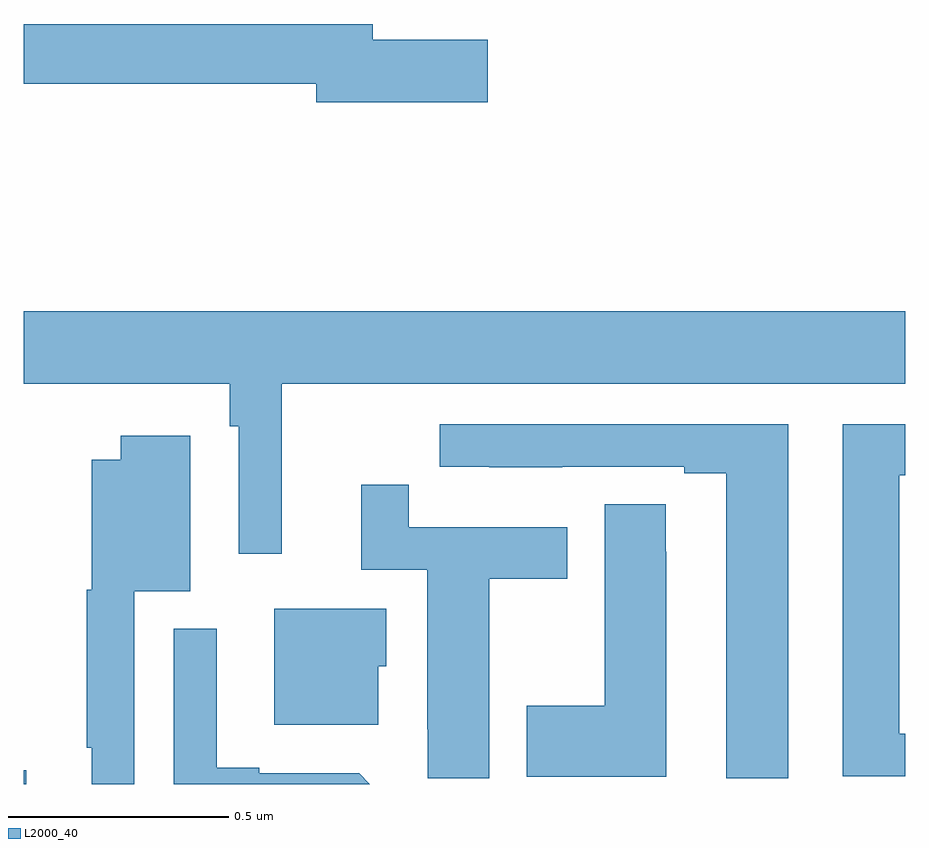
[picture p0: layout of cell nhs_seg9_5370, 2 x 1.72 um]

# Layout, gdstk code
import gdstk
lib = gdstk.Library(unit=1e-6, precision=1e-09)
def R(c, l, rs):  # rectangles x0, y0, x1, y1
    for r in rs: c.add(gdstk.rectangle(r[:2], r[2:], *l))
def P(c, l, *ps):  # polygons
    for p in ps: c.add(gdstk.Polygon(p, *l))
L2000_40 = (2000, 40)

nhs_seg9_5370 = lib.new_cell('nhs_seg9_5370')
R(nhs_seg9_5370, L2000_40, [(178,1207.5,178.006,1207.531)])
P(nhs_seg9_5370, L2000_40, [(179.053,1209.188),(178.792,1209.188),(178.792,1209.224),(178,1209.224),(178,1209.088),(178.664,1209.088),(178.664,1209.046),(179.053,1209.046)],
  [(178.586,1208.408),(180,1208.408),(180,1208.572),(178,1208.572),(178,1208.408),(178.468,1208.408),(178.468,1208.312),(178.488,1208.312),(178.488,1208.022),(178.586,1208.022)],
  [(179.734,1208.316),(178.944,1208.316),(178.944,1208.22),(179.056,1208.22),(179.056,1208.219),(179.222,1208.219),(179.222,1208.22),(179.498,1208.22),(179.498,1208.205),(179.594,1208.205),(179.594,1207.513),(179.734,1207.513)],
  [(180,1207.614),(179.986,1207.614),(179.986,1208.2),(180,1208.2),(180,1208.316),(179.858,1208.316),(179.858,1207.518),(180,1207.518)],
  [(178.251,1207.937),(178.378,1207.937),(178.378,1208.29),(178.22,1208.29),(178.22,1208.236),(178.154,1208.236),(178.154,1207.941),(178.143,1207.941),(178.143,1207.582),(178.154,1207.582),(178.154,1207.5),(178.251,1207.5)],
  [(179.056,1207.966),(179.233,1207.966),(179.233,1208.082),(178.874,1208.082),(178.874,1208.179),(178.766,1208.179),(178.766,1207.986),(178.916,1207.986),(178.916,1207.624),(178.917,1207.624),(178.917,1207.513),(179.056,1207.513)],
  [(179.458,1208.027),(179.457,1208.027),(179.457,1208.135),(179.318,1208.135),(179.318,1207.677),(179.141,1207.677),(179.141,1207.517),(179.458,1207.517)],
  [(178.804,1207.767),(178.822,1207.767),(178.822,1207.897),(178.568,1207.897),(178.568,1207.634),(178.804,1207.634)],
  [(178.761,1207.524),(178.534,1207.524),(178.534,1207.537),(178.438,1207.537),(178.438,1207.852),(178.341,1207.852),(178.341,1207.5),(178.785,1207.5)])

lib.write_gds('nhs_seg9_5370.gds')
